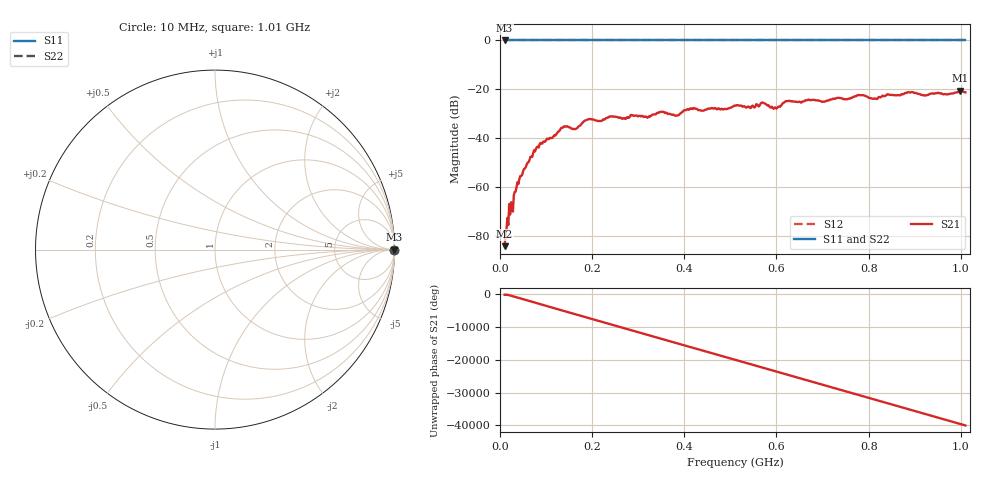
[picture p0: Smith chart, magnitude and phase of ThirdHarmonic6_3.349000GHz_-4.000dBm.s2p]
! 8/17/2025 10:33:54 AM
! C:\ANRITSUVNA\TEMP\TEMP.S2P
! CHANNEL.1
! TR.MEASUREMENT
! RAW.DATA
! RF.CORRECTION.OFF
! AVERAGING.OFF
! IF.BANDWIDTH: 5KHZ
! SWEEPTYPE:  FREQ.SWEEP(Linear)
! Reference Plane Port Info
! PORT:  PORT1  PORT2
! DISTANCE:  0  m  0  m
! TIME:  0  s  0  s
! PHASE.OFFSET:  0  deg.  0  deg.
! LOSS:  0  dB  0  dB
! REF.LOSS:  0  dB  0  dB
! REF.FREQ:  0  Hz  0  Hz
! Power Info
! POWER:  -20  dBm  -20  dBm
! EFF.POWER:  -20  dBm  -20  dBm
! SOURCE.ATTEN:  0  dB  0  dB
! TEST.ATTEN:  0  dB  0  dB
# GHZ S RI R 50.0
! FREQ.GHZ  S11RE  S11IM  S21RE  S21IM  S12RE  S12IM  S22RE  S22IM
!; PortSelection: Port_12
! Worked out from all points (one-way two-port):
!   501 points, 10 MHz to 1.01 GHz, reference 50 ohm
!   highest |S21| = -20.61 dB at 998 MHz (marker M1); lowest = -84.2 dB at 10 MHz (marker M2)
!   lowest |S11| = 0.0 dB at 10 MHz (marker M3)
!   |S11| at or under -10 dB: nowhere
!   |S22| runs from 0.0 to 0.0 dB; largest |S21 - S12| = 1.1
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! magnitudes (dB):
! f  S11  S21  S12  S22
! 10 MHz  0.0  -84.2  0.0  0.0
! 20 MHz  0.0  -66.9  0.0  0.0
! 40 MHz  0.0  -58.8  0.0  0.0
! 76 MHz  0.0  -45.4  0.0  0.0
! 136 MHz  0.0  -35.7  0.0  0.0
! 162 MHz  0.0  -36.3  0.0  0.0
! 178 MHz  0.0  -33.8  0.0  0.0
! 194 MHz  0.0  -32.1  0.0  0.0
! 322 MHz  0.0  -31.3  0.0  0.0
! 344 MHz  0.0  -29.7  0.0  0.0
! 384 MHz  0.0  -30.7  0.0  0.0
! 416 MHz  0.0  -27.9  0.0  0.0
! 510 MHz  0.0  -26.6  0.0  0.0
! 570 MHz  0.0  -25.4  0.0  0.0
! 596 MHz  0.0  -27.4  0.0  0.0
! 624 MHz  0.0  -24.8  0.0  0.0
! 678 MHz  0.0  -24.4  0.0  0.0
! 780 MHz  0.0  -22.4  0.0  0.0
! 814 MHz  0.0  -23.7  0.0  0.0
! 844 MHz  0.0  -22.2  0.0  0.0
! 998 MHz  0.0  -20.6  0.0  0.0
! 1.01 GHz  0.0  -21.2  0.0  0.0
